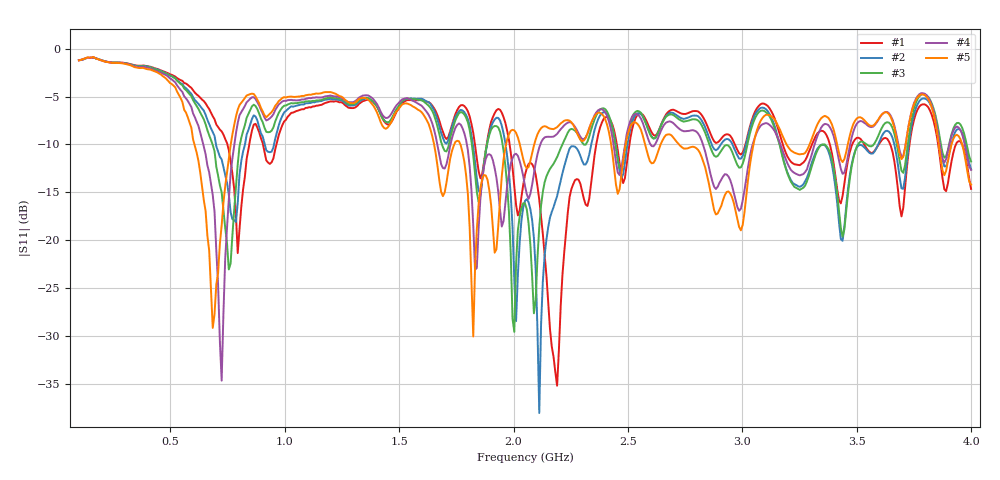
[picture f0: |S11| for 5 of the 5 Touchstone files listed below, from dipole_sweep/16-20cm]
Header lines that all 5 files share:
# GHZ S RI R 50.000000000000
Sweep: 100 MHz to 4 GHz
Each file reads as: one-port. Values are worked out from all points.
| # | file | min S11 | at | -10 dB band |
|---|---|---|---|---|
| 1 | dipole_L16cm_20261104-114125.s1p | -35.2 dB | 2.19 GHz | 378.8 MHz wide |
| 2 | dipole_L17cm_20261104-114115.s1p | -38.1 dB | 2.112 GHz | 430.4 MHz wide |
| 3 | dipole_L18cm_20261104-114050.s1p | -29.6 dB | 2.003 GHz | 261.5 MHz wide |
| 4 | dipole_L19cm_20261104-114034.s1p | -34.7 dB | 724 MHz | 321.3 MHz wide |
| 5 | dipole_L20cm_20261104-114016.s1p | -30.1 dB | 1.824 GHz | 325.6 MHz wide |
